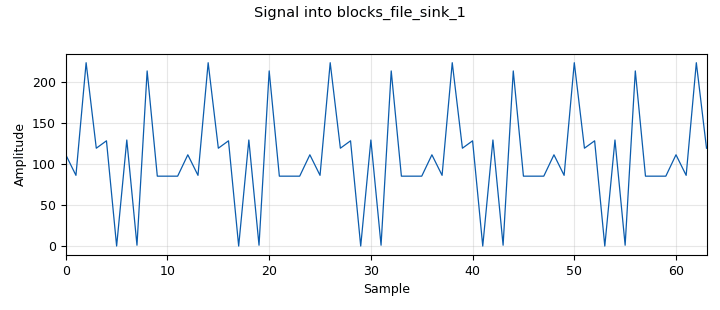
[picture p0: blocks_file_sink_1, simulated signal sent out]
options:
  parameters:
    generate_options: qt_gui
    id: loopback_test
    output_language: python
    title: Not titled yet
  states: {}

blocks:
- name: samp_rate
  id: variable
  parameters:
    value: '32000'
  states: {}
- name: blocks_file_sink_1
  id: blocks_file_sink
  parameters:
    file: /home/ethant/Projects/sdr-bridge/loopback_testout.bin
    type: byte
  states: {}
- name: blocks_pack_k_bits_bb_0
  id: blocks_pack_k_bits_bb
  parameters:
    k: '8'
  states: {}
- name: blocks_stream_to_tagged_stream_0
  id: blocks_stream_to_tagged_stream
  parameters:
    len_tag_key: '"packet_len"'
    packet_len: '8'
    type: byte
  states: {}
- name: blocks_vector_source_x_0
  id: blocks_vector_source_x
  parameters:
    repeat: 'True'
    type: byte
    vector: (0xAA, 0xAA, 0xAA, 0xAA, 0xDE, 0xAD, 0xBE, 0xEF, 0x00, 0x01, 0x02, 0x03)
  states: {}
- name: channels_channel_model_0
  id: channels_channel_model
  parameters:
    epsilon: '1.0'
    freq_offset: '0.0'
    noise_voltage: '0.0'
    seed: '0'
    taps: '1.0'
  states: {}
- name: digital_gmsk_demod_0
  id: digital_gmsk_demod
  parameters:
    freq_error: '0.0'
    gain_mu: '0.175'
    mu: '0.5'
    omega_relative_limit: '0.005'
    samples_per_symbol: '4'
  states: {}
- name: digital_gmsk_mod_0
  id: digital_gmsk_mod
  parameters:
    bt: '0.35'
    samples_per_symbol: '4'
  states: {}

connections:
- [blocks_pack_k_bits_bb_0, '0', blocks_file_sink_1, '0']
- [blocks_stream_to_tagged_stream_0, '0', digital_gmsk_mod_0, '0']
- [blocks_vector_source_x_0, '0', blocks_stream_to_tagged_stream_0, '0']
- [channels_channel_model_0, '0', digital_gmsk_demod_0, '0']
- [digital_gmsk_demod_0, '0', blocks_pack_k_bits_bb_0, '0']
- [digital_gmsk_mod_0, '0', channels_channel_model_0, '0']

metadata:
  file_format: 1
  grc_version: 3.10.12.0
